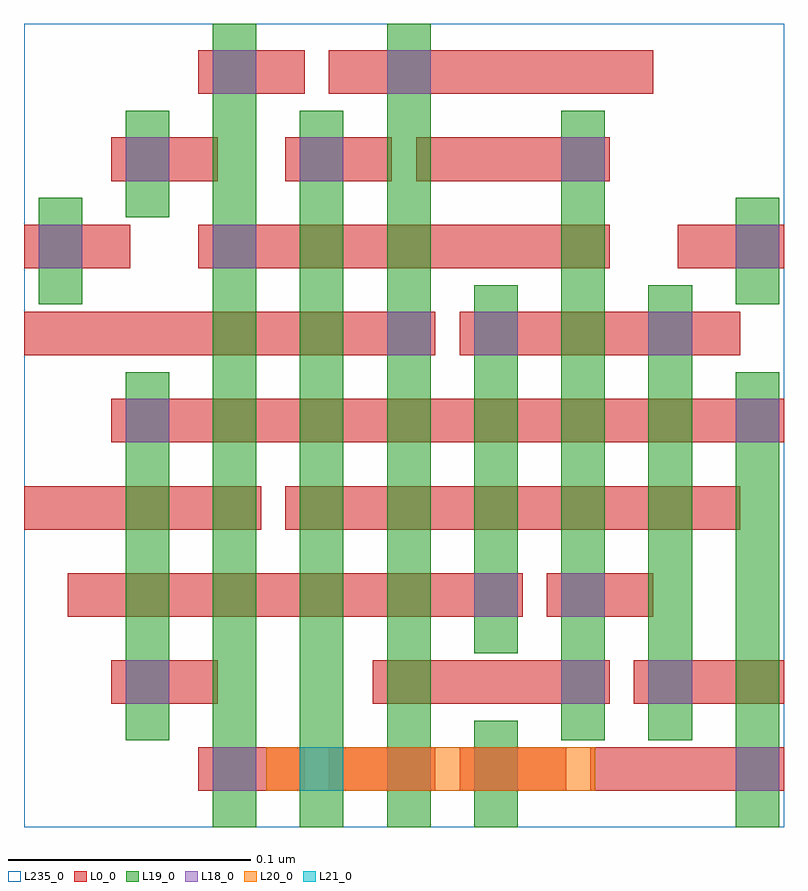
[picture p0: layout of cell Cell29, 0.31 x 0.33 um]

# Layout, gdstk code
import gdstk
lib = gdstk.Library(unit=1e-6, precision=2.5e-10)
def R(c, l, rs):  # rectangles x0, y0, x1, y1
    for r in rs: c.add(gdstk.rectangle(r[:2], r[2:], *l))
def A(c, l, x, y, w, h, nx, ny, dx, dy):  # array of equal rectangles
    R(c, l, [(x+i*dx, y+j*dy, x+i*dx+w, y+j*dy+h) for i in range(nx) for j in range(ny)])
L0_0 = (0, 0)
L18_0 = (18, 0)
L19_0 = (19, 0)
L20_0 = (20, 0)
L21_0 = (21, 0)
L235_0 = (235, 0)

cell29 = lib.new_cell('Cell29')
A(cell29, L0_0, 0.076, -0.001, 0.044, 0.018, 3, 1, 0.054, 0)
R(cell29, L0_0, [(0.238,-0.001,0.318,0.017), (0.04,0.035,0.084,0.053), (0.148,0.035,0.246,0.053), (0.256,0.035,0.318,0.053), (0.022,0.071,0.21,0.089), (0.22,0.071,0.264,0.089), (0.004,0.107,0.102,0.125), (0.112,0.107,0.3,0.125), (0.04,0.143,0.318,0.161), (0.004,0.179,0.174,0.197), (0.184,0.179,0.3,0.197), (0.004,0.215,0.048,0.233), (0.076,0.215,0.246,0.233), (0.274,0.215,0.318,0.233), (0.04,0.251,0.084,0.269), (0.112,0.251,0.156,0.269), (0.166,0.251,0.246,0.269), (0.076,0.287,0.12,0.305), (0.13,0.287,0.264,0.305)])
A(cell29, L18_0, 0.046, 0.035, 0.018, 0.018, 1, 3, 0, 0.108)
R(cell29, L18_0, [(0.082,-0.001,0.1,0.017), (0.154,-0.001,0.172,0.017), (0.19,-0.001,0.208,0.017), (0.298,-0.001,0.316,0.017), (0.226,0.035,0.244,0.053), (0.262,0.035,0.28,0.053), (0.19,0.071,0.208,0.089), (0.226,0.071,0.244,0.089), (0.298,0.143,0.316,0.161), (0.154,0.179,0.172,0.197), (0.19,0.179,0.208,0.197), (0.262,0.179,0.28,0.197), (0.01,0.215,0.028,0.233), (0.082,0.215,0.1,0.233), (0.298,0.215,0.316,0.233), (0.118,0.251,0.136,0.269), (0.226,0.251,0.244,0.269), (0.082,0.287,0.1,0.305), (0.154,0.287,0.172,0.305)])
R(cell29, L19_0, [(0.082,-0.016,0.1,0.316), (0.118,-0.016,0.136,0.28), (0.154,-0.016,0.172,0.316), (0.19,-0.016,0.208,0.028), (0.298,-0.016,0.316,0.172), (0.046,0.02,0.064,0.172), (0.226,0.02,0.244,0.28), (0.262,0.02,0.28,0.208), (0.19,0.056,0.208,0.208), (0.01,0.2,0.028,0.244), (0.298,0.2,0.316,0.244), (0.046,0.236,0.064,0.28)])
R(cell29, L20_0, [(0.104,-0.001,0.24,0.017)])
R(cell29, L21_0, [(0.118,-0.001,0.136,0.017)])
R(cell29, L235_0, [(0.004,-0.016,0.318,0.316)])

lib.write_gds('Cell29.gds')
